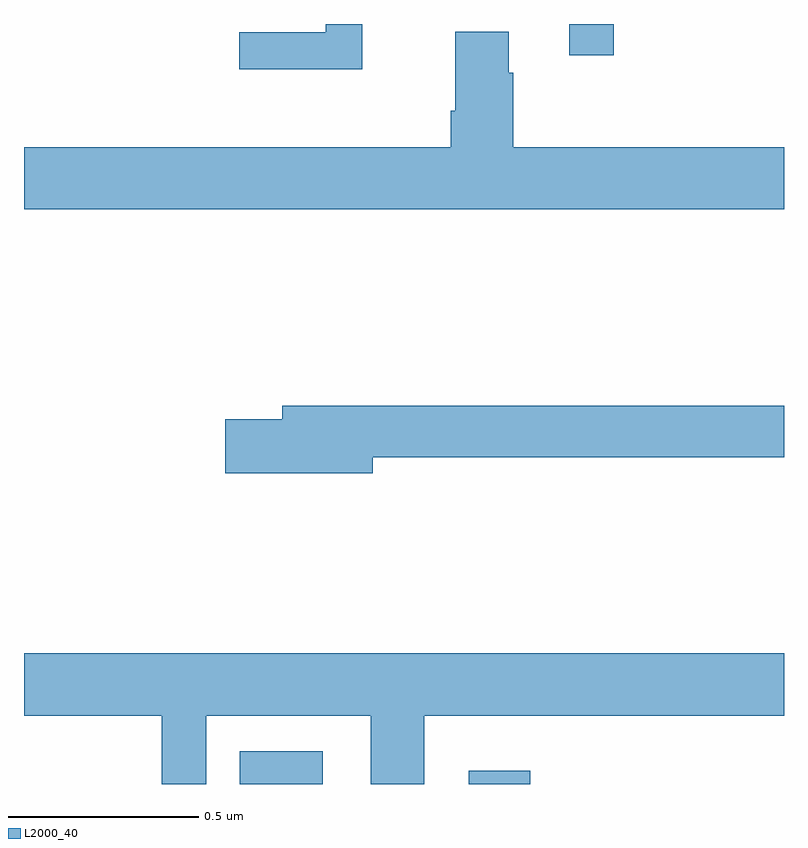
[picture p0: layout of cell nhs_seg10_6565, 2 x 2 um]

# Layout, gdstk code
import gdstk
lib = gdstk.Library(unit=1e-6, precision=1e-09)
def R(c, l, rs):  # rectangles x0, y0, x1, y1
    for r in rs: c.add(gdstk.rectangle(r[:2], r[2:], *l))
def P(c, l, *ps):  # polygons
    for p in ps: c.add(gdstk.Polygon(p, *l))
L2000_40 = (2000, 40)

nhs_seg10_6565 = lib.new_cell('nhs_seg10_6565')
R(nhs_seg10_6565, L2000_40, [(193.568,1269.5,193.786,1269.586), (194.171,1269.5,194.332,1269.535), (194.435,1271.418,194.552,1271.5)])
P(nhs_seg10_6565, L2000_40, [(193.89,1271.5),(193.794,1271.5),(193.794,1271.478),(193.566,1271.478),(193.566,1271.381),(193.89,1271.381)],
  [(195,1271.176),(194.288,1271.176),(194.288,1271.372),(194.275,1271.372),(194.275,1271.48),(194.135,1271.48),(194.135,1271.272),(194.123,1271.272),(194.123,1271.176),(193,1271.176),(193,1271.012),(195,1271.012)],
  [(193.918,1270.36),(195,1270.36),(195,1270.496),(193.679,1270.496),(193.679,1270.46),(193.53,1270.46),(193.53,1270.318),(193.918,1270.318)],
  [(193.479,1269.68),(193.913,1269.68),(193.913,1269.5),(194.053,1269.5),(194.053,1269.68),(195,1269.68),(195,1269.844),(193,1269.844),(193,1269.68),(193.363,1269.68),(193.363,1269.5),(193.479,1269.5)])

lib.write_gds('nhs_seg10_6565.gds')
